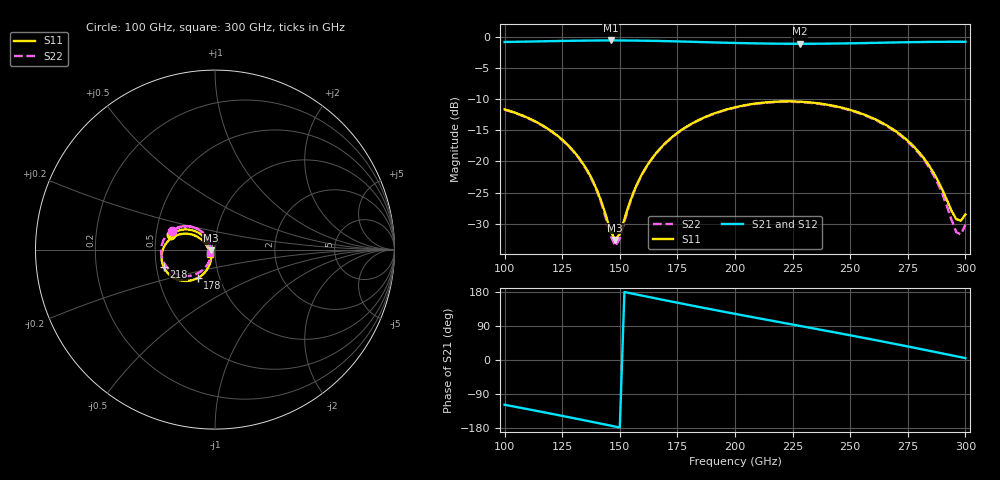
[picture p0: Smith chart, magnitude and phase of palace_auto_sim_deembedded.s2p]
! Created with skrf 1.11.0 (http://scikit-rf.org).
# GHz S DB R 50.0
!freq dBS11 angS11 dBS21 angS21 dBS12 angS12 dBS22 angS22
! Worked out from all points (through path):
!   101 points, 100 GHz to 300 GHz, reference 50 ohm
!   highest |S21| = -0.60 dB at 146 GHz (marker M1); lowest = -1.1 dB at 228 GHz (marker M2)
!   group delay of S21, straight-line fit = 3.27 ps
!   lowest |S11| = -32.6 dB at 148 GHz (marker M3), VSWR 1.05, Z = 47.7 - j0.289 ohm
!   |S11| at or under -10 dB: start of sweep to end of sweep
!   |S22| runs from -33.6 to -10.4 dB; largest |S21 - S12| = 1.1e-14
!   S11 on the Smith chart (normalised r, x): 100 GHz: 0.60, +0.11; 178 GHz: 0.79, -0.26; 218 GHz: 0.55, -0.12; 300 GHz: 0.94, -0.05
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100  -11.66 161.4  -0.85 -118.1  -0.85 -118.1  -11.71 156.0
120  -15.06 141.4  -0.72 -141.5  -0.72 -141.5  -15.12 134.6
134  -20.33 131.6  -0.63 -158.4  -0.63 -158.4  -20.43 123.4
140  -24.50 133.6  -0.61 -165.8  -0.61 -165.8  -24.70 124.4
146  -31.12 161.0  -0.60 -173.2  -0.60 -173.2  -31.85 150.9
148  -32.57 -172.6  -0.61 -175.7  -0.61 -175.7  -33.57 179.8
150  -31.59 -144.4  -0.61 -178.1  -0.61 -178.1  -32.35 -149.2
154  -26.89 -117.4  -0.62 176.9  -0.62 176.9  -27.15 -122.5
158  -23.20 -110.7  -0.63 172.0  -0.63 172.0  -23.33 -116.9
168  -17.72 -113.0  -0.70 159.7  -0.70 159.7  -17.79 -120.6
178  -14.65 -121.3  -0.79 147.6  -0.79 147.6  -14.71 -129.8
200  -11.32 -142.9  -1.01 121.8  -1.01 121.8  -11.37 -153.0
218  -10.42 -160.9  -1.12 101.4  -1.12 101.4  -10.48 -172.2
228  -10.42 -170.8  -1.14 90.2  -1.14 90.2  -10.48 177.2
234  -10.59 -176.8  -1.13 83.4  -1.13 83.4  -10.66 170.9
252  -11.96 165.7  -1.05 62.9  -1.05 62.9  -12.04 151.9
268  -14.71 151.2  -0.94 44.1  -0.94 44.1  -14.83 135.8
284  -20.53 143.5  -0.84 24.7  -0.84 24.7  -20.82 125.0
290  -24.52 149.9  -0.82 17.3  -0.82 17.3  -25.19 129.2
296  -29.23 -176.7  -0.82 9.9  -0.82 9.9  -31.31 164.7
298  -29.49 -156.3  -0.82 7.4  -0.82 7.4  -31.70 -168.8
300  -28.49 -137.9  -0.82 4.9  -0.82 4.9  -30.14 -146.3
